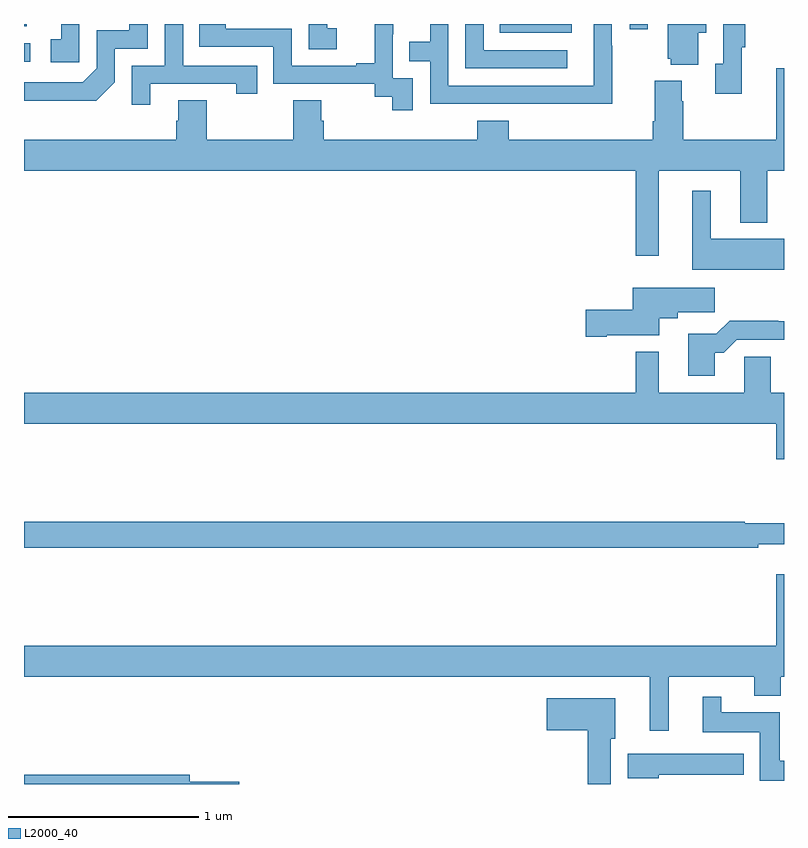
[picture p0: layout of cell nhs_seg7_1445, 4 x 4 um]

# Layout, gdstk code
import gdstk
lib = gdstk.Library(unit=1e-6, precision=1e-09)
def R(c, l, rs):  # rectangles x0, y0, x1, y1
    for r in rs: c.add(gdstk.rectangle(r[:2], r[2:], *l))
def P(c, l, *ps):  # polygons
    for p in ps: c.add(gdstk.Polygon(p, *l))
L2000_40 = (2000, 40)

nhs_seg7_1445 = lib.new_cell('nhs_seg7_1445')
R(nhs_seg7_1445, L2000_40, [(209,1055.802,209.032,1055.898), (211.504,1055.954,211.882,1056), (212.187,1055.973,212.283,1056), (209,1055.987,209.014,1056)])
P(nhs_seg7_1445, L2000_40, [(211.858,1055.862),(211.419,1055.862),(211.419,1056),(211.323,1056),(211.323,1055.766),(211.858,1055.766)],
  [(212.548,1055.954),(212.59,1055.954),(212.59,1056),(212.387,1056),(212.387,1055.817),(212.405,1055.817),(212.405,1055.786),(212.548,1055.786)],
  [(211.047,1055.715),(210.942,1055.715),(210.942,1055.945),(210.944,1055.945),(210.944,1056),(210.845,1056),(210.845,1055.794),(210.749,1055.794),(210.749,1055.781),(210.408,1055.781),(210.408,1055.976),(210.063,1055.976),(210.063,1056),(209.923,1056),(209.923,1055.88),(210.312,1055.88),(210.312,1055.685),(210.846,1055.685),(210.846,1055.617),(210.939,1055.617),(210.939,1055.547),(211.047,1055.547)],
  [(212.777,1055.878),(212.795,1055.878),(212.795,1056),(212.679,1056),(212.679,1055.79),(212.639,1055.79),(212.639,1055.634),(212.777,1055.634)],
  [(212.097,1055.885),(212.094,1055.885),(212.094,1056),(211.998,1056),(211.998,1055.676),(211.233,1055.676),(211.233,1056),(211.137,1056),(211.137,1055.906),(211.027,1055.906),(211.027,1055.805),(211.137,1055.805),(211.137,1055.58),(211.633,1055.58),(211.633,1055.579),(212.097,1055.579)],
  [(209.292,1056),(209.195,1056),(209.195,1055.919),(209.142,1055.919),(209.142,1055.799),(209.292,1055.799)],
  [(209.478,1055.694),(209.478,1055.871),(209.652,1055.871),(209.652,1056),(209.555,1056),(209.555,1055.967),(209.382,1055.967),(209.382,1055.766),(209.31,1055.694),(209,1055.694),(209,1055.597),(209.38,1055.597)],
  [(210.646,1055.977),(210.597,1055.977),(210.597,1056),(210.498,1056),(210.498,1055.868),(210.646,1055.868)],
  [(209.665,1055.685),(210.116,1055.685),(210.116,1055.634),(210.227,1055.634),(210.227,1055.781),(209.838,1055.781),(209.838,1056),(209.742,1056),(209.742,1055.781),(209.568,1055.781),(209.568,1055.574),(209.665,1055.574)],
  [(209.813,1055.6),(209.813,1055.49),(209.801,1055.49),(209.801,1055.392),(209,1055.392),(209,1055.228),(212.22,1055.228),(212.22,1054.779),(212.341,1054.779),(212.341,1055.228),(212.771,1055.228),(212.771,1054.955),(212.911,1054.955),(212.911,1055.228),(213,1055.228),(213,1055.767),(212.96,1055.767),(212.96,1055.392),(212.469,1055.392),(212.469,1055.594),(212.461,1055.594),(212.461,1055.701),(212.321,1055.701),(212.321,1055.488),(212.309,1055.488),(212.309,1055.392),(211.55,1055.392),(211.55,1055.491),(211.385,1055.491),(211.385,1055.392),(210.578,1055.392),(210.578,1055.49),(210.565,1055.49),(210.565,1055.6),(210.418,1055.6),(210.418,1055.392),(209.961,1055.392),(209.961,1055.6)],
  [(213,1054.87),(212.614,1054.87),(212.614,1055.122),(212.516,1055.122),(212.516,1054.706),(213,1054.706)],
  [(212.068,1054.361),(212.344,1054.361),(212.344,1054.451),(212.44,1054.451),(212.44,1054.483),(212.635,1054.483),(212.635,1054.612),(212.204,1054.612),(212.204,1054.496),(211.956,1054.496),(211.956,1054.354),(212.068,1054.354)],
  [(212.635,1054.271),(212.684,1054.271),(212.751,1054.338),(213,1054.338),(213,1054.436),(212.969,1054.436),(212.969,1054.439),(212.714,1054.439),(212.644,1054.369),(212.495,1054.369),(212.495,1054.149),(212.635,1054.149)],
  [(213,1054.06),(212.929,1054.06),(212.929,1054.25),(212.79,1054.25),(212.79,1054.06),(212.341,1054.06),(212.341,1054.276),(212.22,1054.276),(212.22,1054.06),(209,1054.06),(209,1053.896),(212.96,1053.896),(212.96,1053.708),(213,1053.708)],
  [(212.864,1053.263),(213,1053.263),(213,1053.373),(212.794,1053.373),(212.794,1053.38),(209,1053.38),(209,1053.244),(212.864,1053.244)],
  [(212.983,1052.564),(213,1052.564),(213,1053.103),(212.96,1053.103),(212.96,1052.728),(209,1052.728),(209,1052.564),(212.294,1052.564),(212.294,1052.28),(212.393,1052.28),(212.393,1052.564),(212.843,1052.564),(212.843,1052.465),(212.983,1052.465)],
  [(213,1052.122),(212.977,1052.122),(212.977,1052.377),(212.671,1052.377),(212.671,1052.458),(212.573,1052.458),(212.573,1052.273),(212.873,1052.273),(212.873,1052.018),(213,1052.018)],
  [(212.089,1052.238),(212.113,1052.238),(212.113,1052.452),(211.752,1052.452),(211.752,1052.282),(211.967,1052.282),(211.967,1052),(212.089,1052)],
  [(212.34,1052.048),(212.788,1052.048),(212.788,1052.158),(212.178,1052.158),(212.178,1052.03),(212.34,1052.03)],
  [(210.133,1052.012),(209.872,1052.012),(209.872,1052.048),(209,1052.048),(209,1052),(210.133,1052)])

lib.write_gds('nhs_seg7_1445.gds')
